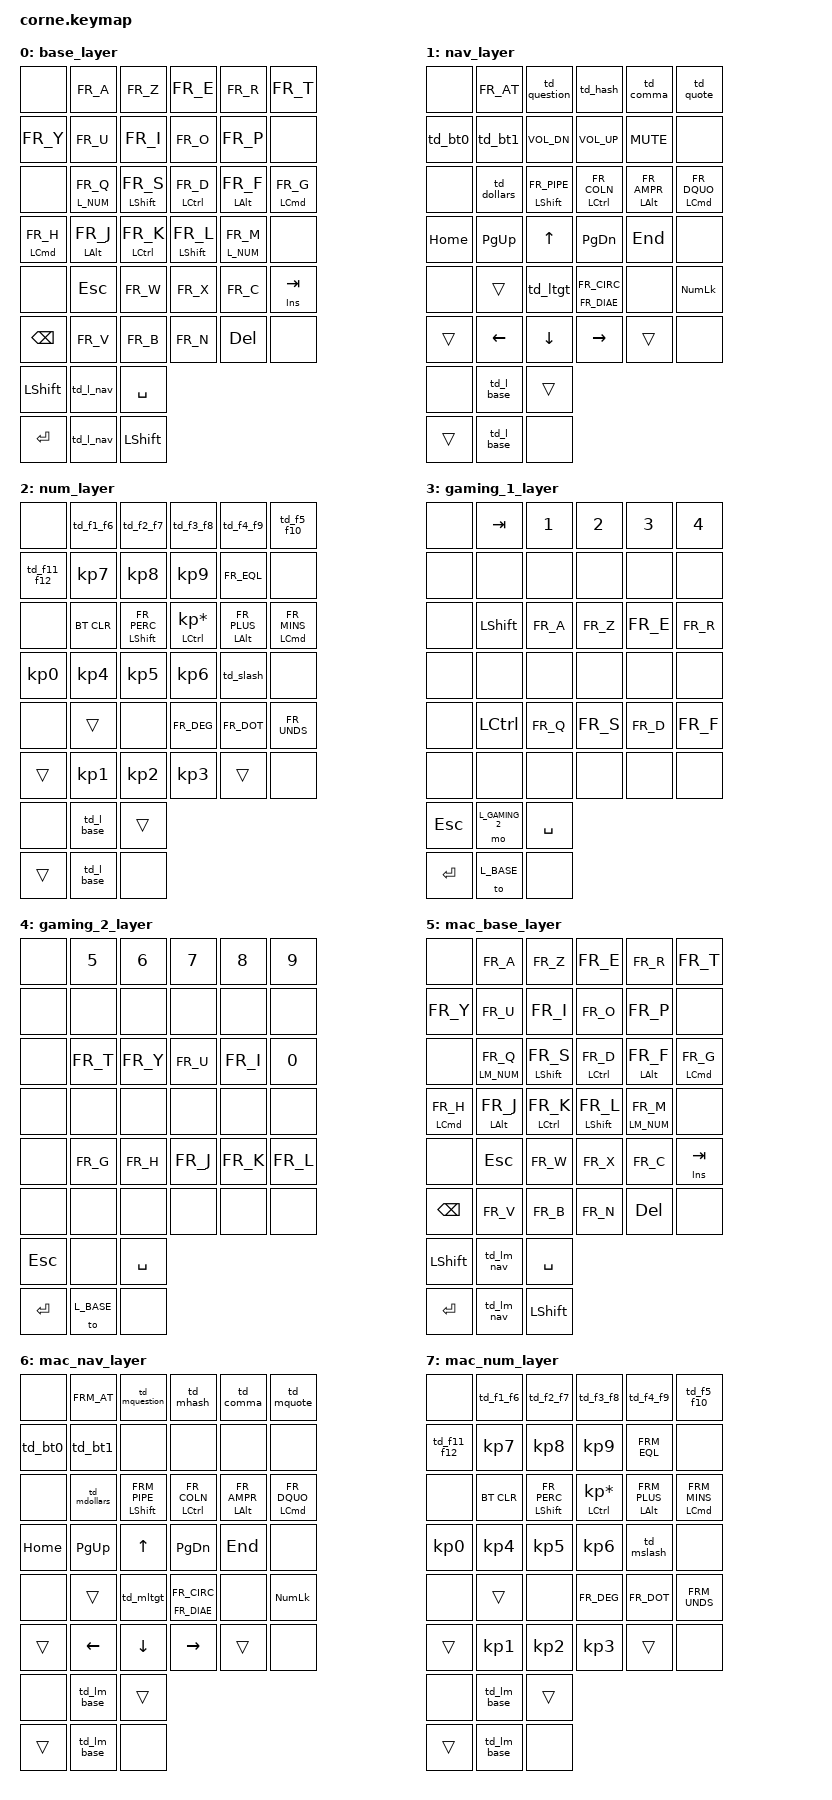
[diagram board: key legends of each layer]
#include <behaviors.dtsi>
#include <dt-bindings/zmk/bt.h>

#include "keymap_french.h"
#include "keymap_french_mac_iso.h"
#include "helper.h"
#include "keypos_42keys.h"

#define NA &none
#define L_BASE 0
#define L_NAV  1
#define L_NUM  2
#define L_GAMING 3
#define L_GAMING_2 4
#define LM_BASE 5
#define LM_NAV  6
#define LM_NUM  7

#define KEYS_L LT0 LT1 LT2 LT3 LT4 LT5 LM0 LM1 LM2 LM3 LM4 LM5 LB0 LB1 LB2 LB3 LB4 LB5  // left-hand keys
#define KEYS_R RT0 RT1 RT2 RT3 RT4 RT5 RM0 RM1 RM2 RM3 RM4 RM5 RB0 RB1 RB2 RB3 RB4 RB5  // right-hand keys
#define THUMBS LH2 LH1 LH0 RH0 RH1 RH2   

/* left-hand HRMs */
ZMK_BEHAVIOR(hml, hold_tap,
    flavor = "balanced";
    tapping-term-ms = <280>;
    quick-tap-ms = <175>;                // repeat on tap-into-hold
    require-prior-idle-ms = <150>;
    bindings = <&kp>, <&kp>;
    hold-trigger-key-positions = <KEYS_R THUMBS>;
    hold-trigger-on-release;             // delay positional check until key-release
)
ZMK_BEHAVIOR(hmll, hold_tap,
    flavor = "balanced";
    tapping-term-ms = <280>;
    quick-tap-ms = <175>;                // repeat on tap-into-hold
    require-prior-idle-ms = <150>;
    bindings = <&mo>, <&kp>;
    hold-trigger-key-positions = <KEYS_R THUMBS>;
    hold-trigger-on-release;             // delay positional check until key-release
)
/* right-hand HRMs */
ZMK_BEHAVIOR(hmr, hold_tap,
    flavor = "balanced";
    tapping-term-ms = <280>;
    quick-tap-ms = <175>;                // repeat on tap-into-hold
    require-prior-idle-ms = <150>;
    bindings = <&kp>, <&kp>;
    hold-trigger-key-positions = <KEYS_L THUMBS>;
    hold-trigger-on-release;             // delay positional check until key-release
)
ZMK_BEHAVIOR(hmrl, hold_tap,
    flavor = "balanced";
    tapping-term-ms = <280>;
    quick-tap-ms = <175>;                // repeat on tap-into-hold
    require-prior-idle-ms = <150>;
    bindings = <&mo>, <&kp>;
    hold-trigger-key-positions = <KEYS_L THUMBS>;
    hold-trigger-on-release;             // delay positional check until key-release
)
/ {
  // ========
  // BEHAVIOR
  // ========
  behaviors {
    td_l_base: td_l_base {
      compatible = "zmk,behavior-tap-dance";
      label = "td_l_base";
      #binding-cells = <0>;
      tapping-term-ms = <200>;
      bindings = <&mo L_BASE>, <&to L_BASE>;
    };
    td_l_nav: td_l_nav {
      compatible = "zmk,behavior-tap-dance";
      label = "td_l_nav";
      #binding-cells = <0>;
      tapping-term-ms = <200>;
      bindings = <&mo L_NAV>, <&to L_NAV>;
    };
    td_l_num: td_l_num {
      compatible = "zmk,behavior-tap-dance";
      label = "td_l_num";
      #binding-cells = <0>;
      tapping-term-ms = <200>;
      bindings = <&mo L_NUM>, <&to L_NUM>;
    };
    td_comma: td_comma { // , ;
      compatible = "zmk,behavior-tap-dance";
      label = "td_comma";
      #binding-cells = <0>;
      tapping-term-ms = <350>;
      bindings = <&kp FR_COMM>, <&kp FR_SCLN>;
    };
    td_question: td_question { // ? !
      compatible = "zmk,behavior-tap-dance";
      label = "td_question";
      #binding-cells = <0>;
      tapping-term-ms = <350>;
      bindings = <&kp FR_QUES>, <&kp FR_EXLM>;
    };
    td_hash: td_hash { // # ~
      compatible = "zmk,behavior-tap-dance";
      label = "td_hash";
      #binding-cells = <0>;
      tapping-term-ms = <350>;
      bindings = <&kp FR_HASH>, <&kp FR_TILD>;
    };
    td_slash: td_slash { // # ~
      compatible = "zmk,behavior-tap-dance";
      label = "td_slash";
      #binding-cells = <0>;
      tapping-term-ms = <350>;
      bindings = <&kp FR_SLSH>, <&kp FR_BSLS>;
    };
    td_quote: td_quote { // ' `
      compatible = "zmk,behavior-tap-dance";
      label = "td_quote";
      #binding-cells = <0>;
      tapping-term-ms = <350>;
      bindings = <&kp FR_QUOT>, <&kp FR_GRV>;
    };
    td_dollars: td_dollars { // $ €
      compatible = "zmk,behavior-tap-dance";
      label = "td_dollars";
      #binding-cells = <0>;
      tapping-term-ms = <350>;
      bindings = <&kp FR_DLR>, <&kp FR_EURO>;
    };
    td_ltgt: td_ltgt { // < >
      compatible = "zmk,behavior-tap-dance";
      label = "td_ltgt";
      #binding-cells = <0>;
      tapping-term-ms = <350>;
      bindings = <&mc_lt>, <&mc_gt>;
    };

    td_f1_f6: td_f1_f6 {
      compatible = "zmk,behavior-tap-dance";
      label = "td_f1_f6";
      #binding-cells = <0>;
      tapping-term-ms = <350>;
      bindings = <&kp F1>, <&kp F6>;
    };
    td_f2_f7: td_f2_f7 {
      compatible = "zmk,behavior-tap-dance";
      label = "td_f2_f7";
      #binding-cells = <0>;
      tapping-term-ms = <350>;
      bindings = <&kp F2>, <&kp F7>;
    };
    td_f3_f8: td_f3_f8 {
      compatible = "zmk,behavior-tap-dance";
      label = "td_f3_f8";
      #binding-cells = <0>;
      tapping-term-ms = <350>;
      bindings = <&kp F3>, <&kp F8>;
    };
    td_f4_f9: td_f4_f9 {
      compatible = "zmk,behavior-tap-dance";
      label = "td_f4_f9";
      #binding-cells = <0>;
      tapping-term-ms = <350>;
      bindings = <&kp F4>, <&kp F9>;
    };
    td_f5_f10: td_f5_f10 {
      compatible = "zmk,behavior-tap-dance";
      label = "td_f5_f10";
      #binding-cells = <0>;
      tapping-term-ms = <350>;
      bindings = <&kp F5>, <&kp F10>;
    };
    td_f11_f12: td_f11_f12 {
      compatible = "zmk,behavior-tap-dance";
      label = "td_f11_f12";
      #binding-cells = <0>;
      tapping-term-ms = <350>;
      bindings = <&kp F11>, <&kp F12>;
    };
    td_bt0: td_bt0 {
      compatible = "zmk,behavior-tap-dance";
      label = "td_bt0";
      #binding-cells = <0>;
      tapping-term-ms = <350>;
      bindings = <&bt BT_SEL 0>, <&to L_BASE>;
    };
    td_bt1: td_bt1 {
      compatible = "zmk,behavior-tap-dance";
      label = "td_bt1";
      #binding-cells = <0>;
      tapping-term-ms = <350>;
      bindings = <&bt BT_SEL 1>, <&to LM_BASE>;
    };

    // mac
    td_lm_base: td_lm_base {
      compatible = "zmk,behavior-tap-dance";
      label = "td_lm_base";
      #binding-cells = <0>;
      tapping-term-ms = <200>;
      bindings = <&mo LM_BASE>, <&to LM_BASE>;
    };
    td_lm_nav: td_lm_nav {
      compatible = "zmk,behavior-tap-dance";
      label = "td_lm_nav";
      #binding-cells = <0>;
      tapping-term-ms = <200>;
      bindings = <&mo LM_NAV>, <&to LM_NAV>;
    };
    td_lm_num: td_lm_num {
      compatible = "zmk,behavior-tap-dance";
      label = "td_lm_num";
      #binding-cells = <0>;
      tapping-term-ms = <200>;
      bindings = <&mo LM_NUM>, <&to LM_NUM>;
    };
    td_mquestion: td_mquestion { // ? !
      compatible = "zmk,behavior-tap-dance";
      label = "td_mquestion";
      #binding-cells = <0>;
      tapping-term-ms = <350>;
      bindings = <&kp FR_QUES>, <&kp FRM_EXLM>;
    };
    td_mhash: td_mhash { // # ~
      compatible = "zmk,behavior-tap-dance";
      label = "td_mhash";
      #binding-cells = <0>;
      tapping-term-ms = <350>;
      bindings = <&kp FRM_HASH>, <&kp FRM_TILD>;
    };
    td_mslash: td_mslash { // # ~
      compatible = "zmk,behavior-tap-dance";
      label = "td_mslash";
      #binding-cells = <0>;
      tapping-term-ms = <350>;
      bindings = <&kp FR_SLSH>, <&kp FRM_BSLS>;
    };
    td_mquote: td_mquote { // ' `
      compatible = "zmk,behavior-tap-dance";
      label = "td_mquote";
      #binding-cells = <0>;
      tapping-term-ms = <350>;
      bindings = <&kp FR_QUOT>, <&kp FRM_GRV>;
    };
    td_mdollars: td_mdollars { // $ €
      compatible = "zmk,behavior-tap-dance";
      label = "td_mdollars";
      #binding-cells = <0>;
      tapping-term-ms = <350>;
      bindings = <&kp FR_DLR>, <&kp FRM_EURO>;
    };
    td_mltgt: td_mltgt { // < >
      compatible = "zmk,behavior-tap-dance";
      label = "td_mltgt";
      #binding-cells = <0>;
      tapping-term-ms = <350>;
      bindings = <&kp GRAVE>, <&kp LS(GRAVE)>;
    };
  };
  // =====
  // MACRO
  // =====
  macros {
    mc_lt: mc_lt {
      label = "mc_lt";
      compatible = "zmk,behavior-macro";
      #binding-cells = <0>;
      bindings
        = <&macro_press &kp LALT>
        , <&macro_tap &kp KP_N6>
        , <&macro_wait_time 50>
        , <&macro_tap &kp KP_N0>
        , <&macro_release &kp LALT>
        ;
    };
    mc_gt: mc_gt {
      label = "mc_gt";
      compatible = "zmk,behavior-macro";
      #binding-cells = <0>;
      bindings
        = <&macro_press &kp LALT>
        , <&macro_tap &kp KP_N6>
        , <&macro_wait_time 50>
        , <&macro_tap &kp KP_N2>
        , <&macro_release &kp LALT>
        ;
    };
  };

  // =====
  // COMBO
  // =====
  combos {
    compatible = "zmk,combos";
    // LEFT
    combo_agrv { // à
      timeout-ms = <30>;
      key-positions = <1 2>;
      bindings = <&kp FR_AGRV>;
    };
    combo_egrv { // è
      timeout-ms = <30>;
      key-positions = <2 3>;
      bindings = <&kp FR_EGRV>;
    };
    combo_eacu { // é
      timeout-ms = <30>;
      key-positions = <3 4>;
      bindings = <&kp FR_EACU>;
    };
     combo_c { //  c ç
      timeout-ms = <30>;
      key-positions = <27 28>;
      bindings = <&kp FR_CCED>;
    };
       
    combo_copy { // cut
      timeout-ms = <30>;
      key-positions = <15 27>;
      bindings = <&kp LG(FR_X)>;
    };
    combo_cut { // copy
      timeout-ms = <30>;
      key-positions = <16 28>;
      bindings = <&kp LG(FR_C)>;
    };
    combo_paste { // paste
      timeout-ms = <30>;
      key-positions = <17 29>;
      bindings = <&kp LG(FR_V)>;
    };
    combo_layer_gaming { // gaming
      timeout-ms = <30>;
      key-positions = <37 38>;
      bindings = <&to L_GAMING>;
    };

    // RIGHT
    combo_ugrv { // ù
      timeout-ms = <30>;
      key-positions = <6 7>;
      bindings = <&kp FR_UGRV>;
    };

    combo_1 { // (
      timeout-ms = <30>;
      key-positions = <7 8>;
      bindings = <&kp FR_LPRN>;
    };
    combo_2 { // )
      timeout-ms = <30>;
      key-positions = <8 9>;
      bindings = <&kp FR_RPRN>;
    };

    combo_3 { // [
      timeout-ms = <30>;
      key-positions = <19 20>;
      bindings = <&kp FR_LBRC>;
      layers = <0 1 2>;
    };
    combo_4 { // ]
      timeout-ms = <30>;
      key-positions = <20 21>;
      bindings = <&kp FR_RBRC>;
      layers = <0 1 2>;
    };

    combo_5 { // {
      timeout-ms = <30>;
      key-positions = <31 32>;
      bindings = <&kp FR_LCBR>;
      layers = <0 1 2>;
    };
    combo_6 { // }
      timeout-ms = <30>;
      key-positions = <32 33>;
      bindings = <&kp FR_RCBR>;
      layers = <0 1 2>;
    };
    
    // mac

    // LEFT

    // RIGHT
    combo_3m { // [
      timeout-ms = <30>;
      key-positions = <19 20>;
      bindings = <&kp LS(RA(N5))>;
      layers = <5 6 7>;
    };
    combo_4m { // ]
      timeout-ms = <30>;
      key-positions = <20 21>;
      bindings = <&kp LS(RA(MINUS))>;
      layers = <5 6 7>;
    };

    combo_5m { // {
      timeout-ms = <30>;
      key-positions = <31 32>;
      bindings = <&kp RA(N5)>;
      layers = <5 6 7>;
    };
    combo_6m { // }
      timeout-ms = <30>;
      key-positions = <32 33>;
      bindings = <&kp RA(MINUS)>;
      layers = <5 6 7>;
    };
  };

  // ======
  // KEYMAP
  // ======
  keymap {
    compatible = "zmk,keymap";

    base_layer {
      bindings = <
/* LEFT  */ /* 00 */ NA /* 01 */ &kp FR_A          /* 02 */ &kp FR_Z              /* 03 */ &kp FR_E           /* 04 */ &kp FR_R           /* 05 */ &kp FR_T
/* RIGHT */             /* 06 */ &kp FR_Y          /* 07 */ &kp FR_U              /* 08 */ &kp FR_I           /* 09 */ &kp FR_O           /* 10 */ &kp FR_P         /* NA 11 */ NA

/* LEFT  */ /* 12 */ NA /* 13 */ &hmll L_NUM FR_Q  /* 14 */ &hml LSHIFT FR_S      /* 15 */ &hml LCTRL FR_D    /* 16 */ &hml LALT FR_F     /* 17 */ &hml LCMD FR_G
/* RIGHT */             /* 18 */ &hmr LCMD FR_H    /* 19 */ &hmr LALT FR_J        /* 20 */ &hmr LCTRL FR_K    /* 21 */ &hmr LSHIFT FR_L   /* 22 */ &hmrl L_NUM FR_M /* NA 23 */ NA

/* LEFT  */ /* 24 */ NA /* 25 */ &kp ESCAPE        /* 26 */ &kp FR_W              /* 27 */ &kp FR_X           /* 28 */ &kp FR_C           /* 29 */ &mt INSERT TAB
/* RIGHT */             /* 30 */ &kp BACKSPACE     /* 31 */ &kp FR_V              /* 32 */ &kp FR_B           /* 33 */ &kp FR_N           /* 34 */ &kp DELETE       /* NA 35 */ NA

/* &td_l_num */
/* LEFT  */ /* 36 */ &kp LSHIFT     /* 37 */ &td_l_nav   /* 38 */ &kp SPACE
/* RIGHT */ /* 39 */ &kp ENTER      /* 40 */ &td_l_nav   /* 41 */ &kp LSHIFT 
      >;
    };
 
    nav_layer {
      bindings = <
/* LEFT  */ /* 00 */ NA /* 01 */ &kp FR_AT              /* 02 */ &td_question        /* 03 */ &td_hash               /* 04 */ &td_comma              /* 05 */ &td_quote
/* RIGHT */             /* 06 */ &td_bt0                /* 07 */ &td_bt1             /* 08 */ &kp C_VOL_DN           /* 09 */ &kp C_VOL_UP           /* 10 */ &kp C_MUTE          /* NA 11 */ NA

/* LEFT  */ /* 12 */ NA /* 13 */ &td_dollars            /* 14 */ &hml LSHIFT FR_PIPE /* 15 */ &hml LCTRL FR_COLN     /* 16 */ &hml LALT FR_AMPR      /* 17 */ &hml LCMD FR_DQUO
/* RIGHT */             /* 18 */ &kp HOME               /* 19 */ &kp PAGE_UP         /* 20 */ &kp UP                 /* 21 */ &kp PAGE_DOWN          /* 22 */ &kp END             /* NA 23 */ NA

/* LEFT  */ /* 24 */ NA /* 25 */ &trans                 /* 26 */ &td_ltgt            /* 27 */ &mt FR_DIAE FR_CIRC    /* 28 */ &none                  /* 29 */ &kp KP_NUMLOCK
/* RIGHT */             /* 30 */ &trans                 /* 31 */ &kp LEFT            /* 32 */ &kp DOWN               /* 33 */ &kp RIGHT              /* 34 */ &trans              /* NA 35 */ NA


/* LEFT  */ /* 36 */ &none      /* 37 */ &td_l_base           /* 38 */ &trans
/* RIGHT */ /* 39 */ &trans     /* 40 */ &td_l_base           /* 41 */ &none 
      >;
    };

    num_layer {
      bindings = <
/* LEFT  */ /* 00 */ NA /* 01 */ &td_f1_f6        /* 02 */ &td_f2_f7              /* 03 */ &td_f3_f8                /* 04 */ &td_f4_f9            /* 05 */ &td_f5_f10
/* RIGHT */             /* 06 */ &td_f11_f12      /* 07 */ &kp KP_N7              /* 08 */ &kp KP_N8                /* 09 */ &kp KP_N9            /* 10 */ &kp FR_EQL            /* NA 11 */ NA

/* LEFT  */ /* 12 */ NA /* 13 */ &bt BT_CLR       /* 14 */ &hml LSHIFT FR_PERC    /* 15 */ &hml LCTRL KP_MULTIPLY   /* 16 */ &hml LALT FR_PLUS    /* 17 */ &hml LCMD FR_MINS
/* RIGHT */             /* 18 */ &kp KP_N0        /* 19 */ &kp KP_N4              /* 20 */ &kp KP_N5                /* 21 */ &kp KP_N6            /* 22 */ &td_slash             /* NA 23 */ NA

/* LEFT  */ /* 24 */ NA /* 25 */ &trans           /* 26 */ &none                  /* 27 */ &kp FR_DEG               /* 28 */ &kp FR_DOT           /* 29 */ &kp FR_UNDS
/* RIGHT */             /* 30 */ &trans           /* 31 */ &kp KP_N1              /* 32 */ &kp KP_N2                /* 33 */ &kp KP_N3            /* 34 */ &trans                /* NA 35 */ NA


/* LEFT  */ /* 36 */ &none      /* 37 */ &td_l_base           /* 38 */ &trans
/* RIGHT */ /* 39 */ &trans     /* 40 */ &td_l_base           /* 41 */ &none 
      >;
    };

    gaming_1_layer {
      bindings = <
/* LEFT  */ /* 00 */ NA /* 01 */ &kp TAB           /* 02 */ &kp N1                /* 03 */ &kp N2             /* 04 */ &kp N3             /* 05 */ &kp N4
/* RIGHT */             /* 06 */ &none             /* 07 */ &none                 /* 08 */ &none              /* 09 */ &none              /* 10 */ &none         /* NA 11 */ NA

/* LEFT  */ /* 12 */ NA /* 13 */ &kp LSHIFT        /* 14 */ &kp FR_A              /* 15 */ &kp FR_Z           /* 16 */ &kp FR_E           /* 17 */ &kp FR_R
/* RIGHT */             /* 18 */ &none             /* 19 */ &none                 /* 20 */ &none              /* 21 */ &none              /* 22 */ &none         /* NA 23 */ NA

/* LEFT  */ /* 24 */ NA /* 25 */ &kp LCTRL         /* 26 */ &kp FR_Q              /* 27 */ &kp FR_S           /* 28 */ &kp FR_D           /* 29 */ &kp FR_F
/* RIGHT */             /* 30 */ &none             /* 31 */ &none                 /* 32 */ &none              /* 33 */ &none              /* 34 */ &none         /* NA 35 */ NA


/* LEFT  */ /* 36 */ &kp ESC        /* 37 */ &mo L_GAMING_2  /* 38 */ &kp SPACE
/* RIGHT */ /* 39 */ &kp ENTER      /* 40 */ &to L_BASE      /* 41 */ &none 
      >;
    };

    gaming_2_layer {
      bindings = <
/* LEFT  */ /* 00 */ NA /* 01 */ &kp N5            /* 02 */ &kp N6                /* 03 */ &kp N7             /* 04 */ &kp N8             /* 05 */ &kp N9
/* RIGHT */             /* 06 */ &none             /* 07 */ &none                 /* 08 */ &none              /* 09 */ &none              /* 10 */ &none         /* NA 11 */ NA

/* LEFT  */ /* 12 */ NA /* 13 */ &kp FR_T          /* 14 */ &kp FR_Y              /* 15 */ &kp FR_U           /* 16 */ &kp FR_I           /* 17 */ &kp N0
/* RIGHT */             /* 18 */ &none             /* 19 */ &none                 /* 20 */ &none              /* 21 */ &none              /* 22 */ &none         /* NA 23 */ NA

/* LEFT  */ /* 24 */ NA /* 25 */ &kp FR_G          /* 26 */ &kp FR_H              /* 27 */ &kp FR_J           /* 28 */ &kp FR_K           /* 29 */ &kp FR_L
/* RIGHT */             /* 30 */ &none             /* 31 */ &none                 /* 32 */ &none              /* 33 */ &none              /* 34 */ &none         /* NA 35 */ NA


/* LEFT  */ /* 36 */ &kp ESC        /* 37 */ &none       /* 38 */ &kp SPACE
/* RIGHT */ /* 39 */ &kp ENTER      /* 40 */ &to L_BASE  /* 41 */ &none 
      >;
    };

    mac_base_layer {
      bindings = <
/* LEFT  */ /* 00 */ NA /* 01 */ &kp FR_A          /* 02 */ &kp FR_Z              /* 03 */ &kp FR_E           /* 04 */ &kp FR_R           /* 05 */ &kp FR_T
/* RIGHT */             /* 06 */ &kp FR_Y          /* 07 */ &kp FR_U              /* 08 */ &kp FR_I           /* 09 */ &kp FR_O           /* 10 */ &kp FR_P          /* NA 11 */ NA

/* LEFT  */ /* 12 */ NA /* 13 */ &hmll LM_NUM FR_Q /* 14 */ &hml LSHIFT FR_S      /* 15 */ &hml LCTRL FR_D    /* 16 */ &hml LALT FR_F     /* 17 */ &hml LCMD FR_G
/* RIGHT */             /* 18 */ &hmr LCMD FR_H    /* 19 */ &hmr LALT FR_J        /* 20 */ &hmr LCTRL FR_K    /* 21 */ &hmr LSHIFT FR_L   /* 22 */ &hmrl LM_NUM FR_M /* NA 23 */ NA

/* LEFT  */ /* 24 */ NA /* 25 */ &kp ESCAPE        /* 26 */ &kp FR_W              /* 27 */ &kp FR_X           /* 28 */ &kp FR_C           /* 29 */ &mt INSERT TAB
/* RIGHT */             /* 30 */ &kp BACKSPACE     /* 31 */ &kp FR_V              /* 32 */ &kp FR_B           /* 33 */ &kp FR_N           /* 34 */ &kp DELETE        /* NA 35 */ NA


/* LEFT  */ /* 36 */ &kp LSHIFT     /* 37 */ &td_lm_nav  /* 38 */ &kp SPACE
/* RIGHT */ /* 39 */ &kp ENTER      /* 40 */ &td_lm_nav  /* 41 */ &kp LSHIFT 
      >;
    };
 
    mac_nav_layer {
      bindings = <
/* LEFT  */ /* 00 */ NA /* 01 */ &kp FRM_AT             /* 02 */ &td_mquestion         /* 03 */ &td_mhash              /* 04 */ &td_comma              /* 05 */ &td_mquote
/* RIGHT */             /* 06 */ &td_bt0                /* 07 */ &td_bt1               /* 08 */ &none                  /* 09 */ &none                  /* 10 */ &none          /* NA 11 */ NA

/* LEFT  */ /* 12 */ NA /* 13 */ &td_mdollars           /* 14 */ &hml LSHIFT FRM_PIPE  /* 15 */ &hml LCTRL FR_COLN     /* 16 */ &hml LALT FR_AMPR      /* 17 */ &hml LCMD FR_DQUO
/* RIGHT */             /* 18 */ &kp HOME               /* 19 */ &kp PAGE_UP           /* 20 */ &kp UP                 /* 21 */ &kp PAGE_DOWN          /* 22 */ &kp END             /* NA 23 */ NA

/* LEFT  */ /* 24 */ NA /* 25 */ &trans                 /* 26 */ &td_mltgt             /* 27 */ &mt FR_DIAE FR_CIRC    /* 28 */ &none                  /* 29 */ &kp KP_NUMLOCK
/* RIGHT */             /* 30 */ &trans                 /* 31 */ &kp LEFT              /* 32 */ &kp DOWN               /* 33 */ &kp RIGHT              /* 34 */ &trans              /* NA 35 */ NA


/* LEFT  */ /* 36 */ &none      /* 37 */ &td_lm_base           /* 38 */ &trans
/* RIGHT */ /* 39 */ &trans     /* 40 */ &td_lm_base           /* 41 */ &none 
      >;
    };

    mac_num_layer {
      bindings = <
/* LEFT  */ /* 00 */ NA /* 01 */ &td_f1_f6        /* 02 */ &td_f2_f7              /* 03 */ &td_f3_f8                /* 04 */ &td_f4_f9            /* 05 */ &td_f5_f10
/* RIGHT */             /* 06 */ &td_f11_f12      /* 07 */ &kp KP_N7              /* 08 */ &kp KP_N8                /* 09 */ &kp KP_N9            /* 10 */ &kp FRM_EQL           /* NA 11 */ NA

/* LEFT  */ /* 12 */ NA /* 13 */ &bt BT_CLR       /* 14 */ &hml LSHIFT FR_PERC    /* 15 */ &hml LCTRL KP_MULTIPLY   /* 16 */ &hml LALT FRM_PLUS   /* 17 */ &hml LCMD FRM_MINS
/* RIGHT */             /* 18 */ &kp KP_N0        /* 19 */ &kp KP_N4              /* 20 */ &kp KP_N5                /* 21 */ &kp KP_N6            /* 22 */ &td_mslash            /* NA 23 */ NA

/* LEFT  */ /* 24 */ NA /* 25 */ &trans           /* 26 */ &none                  /* 27 */ &kp FR_DEG               /* 28 */ &kp FR_DOT           /* 29 */ &kp FRM_UNDS
/* RIGHT */             /* 30 */ &trans           /* 31 */ &kp KP_N1              /* 32 */ &kp KP_N2                /* 33 */ &kp KP_N3            /* 34 */ &trans                /* NA 35 */ NA


/* LEFT  */ /* 36 */ &none      /* 37 */ &td_lm_base           /* 38 */ &trans
/* RIGHT */ /* 39 */ &trans     /* 40 */ &td_lm_base           /* 41 */ &none 
      >;
    };
  };
};
